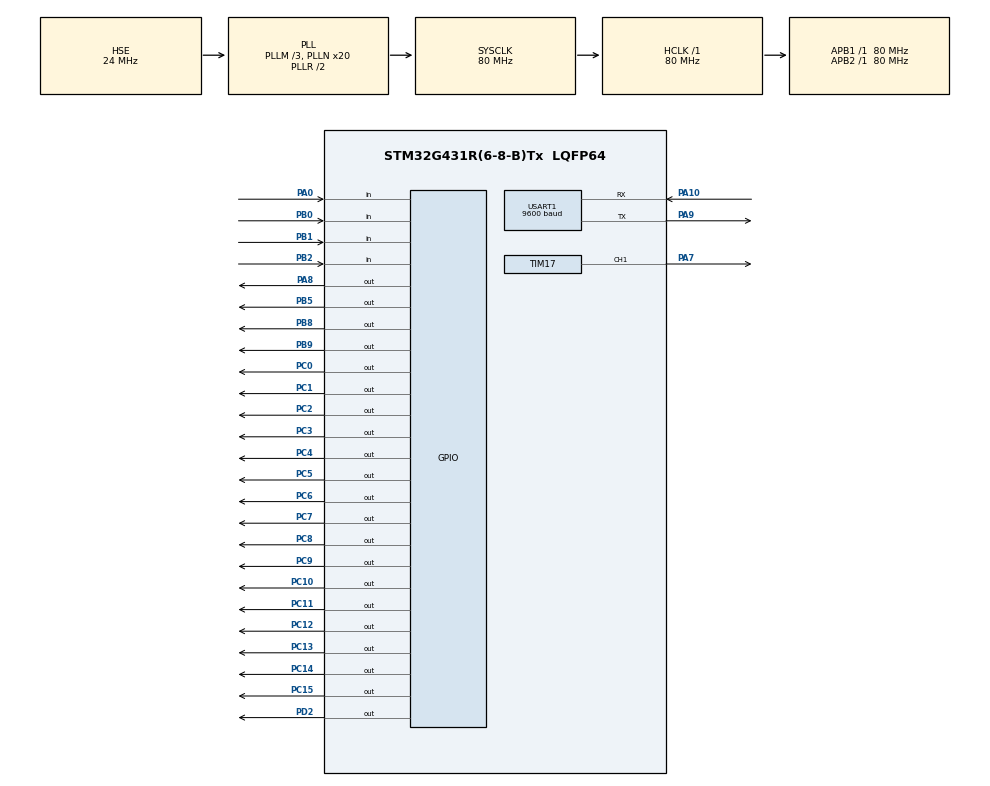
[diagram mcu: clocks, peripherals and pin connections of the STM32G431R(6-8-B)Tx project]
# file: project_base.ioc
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Mcu.Family=STM32G4
Mcu.Name=STM32G431R(6-8-B)Tx
Mcu.Package=LQFP64
NVIC.PriorityGroup=NVIC_PRIORITYGROUP_4
NVIC.USART1_IRQn=true\:0\:0\:false\:false\:true\:true\:true\:true
PA0.GPIO_PuPd=GPIO_PULLUP
PA0.Signal=GPIO_Input
PA10.Mode=Asynchronous
PA10.Signal=USART1_RX
PA13.Mode=Serial_Wire
PA13.Signal=SYS_JTMS-SWDIO
PA14.Mode=Serial_Wire
PA14.Signal=SYS_JTCK-SWCLK
PA7.Signal=S_TIM17_CH1
PA8.Signal=GPIO_Output
PA9.Mode=Asynchronous
PA9.Signal=USART1_TX
PB0.GPIO_PuPd=GPIO_PULLUP
PB0.Signal=GPIO_Input
PB1.GPIO_PuPd=GPIO_PULLUP
PB1.Signal=GPIO_Input
PB2.GPIO_PuPd=GPIO_PULLUP
PB2.Signal=GPIO_Input
PB5.Signal=GPIO_Output
PB8-BOOT0.Signal=GPIO_Output
PB9.Signal=GPIO_Output
PC0.Signal=GPIO_Output
PC1.Signal=GPIO_Output
PC10.Signal=GPIO_Output
PC11.Signal=GPIO_Output
PC12.Signal=GPIO_Output
PC13.Signal=GPIO_Output
PC14-OSC32_IN.Signal=GPIO_Output
PC15-OSC32_OUT.Signal=GPIO_Output
PC2.Signal=GPIO_Output
PC3.Signal=GPIO_Output
PC4.Signal=GPIO_Output
PC5.Signal=GPIO_Output
PC6.Signal=GPIO_Output
PC7.Signal=GPIO_Output
PC8.Signal=GPIO_Output
PC9.Signal=GPIO_Output
PD2.Signal=GPIO_Output
PF0-OSC_IN.Mode=HSE-External-Oscillator
PF0-OSC_IN.Signal=RCC_OSC_IN
PF1-OSC_OUT.Mode=HSE-External-Oscillator
PF1-OSC_OUT.Signal=RCC_OSC_OUT
ProjectManager.HeapSize=0x200
ProjectManager.StackSize=0x400
ProjectManager.TargetToolchain=MDK-ARM V5.32
RCC.ADC12Freq_Value=80000000
RCC.AHBFreq_Value=80000000
RCC.APB1Freq_Value=80000000
RCC.APB1TimFreq_Value=80000000
RCC.APB2Freq_Value=80000000
RCC.APB2TimFreq_Value=80000000
RCC.CortexFreq_Value=80000000
RCC.EXTERNAL_CLOCK_VALUE=12288000
RCC.HCLKFreq_Value=80000000
RCC.HSE_VALUE=24000000
RCC.HSI48_VALUE=48000000
RCC.HSI_VALUE=16000000
RCC.LSE_VALUE=32768
RCC.PLLM=RCC_PLLM_DIV3
RCC.PLLN=20
RCC.PLLSourceVirtual=RCC_PLLSOURCE_HSE
RCC.SYSCLKFreq_VALUE=80000000
RCC.SYSCLKSource=RCC_SYSCLKSOURCE_PLLCLK
RCC.USBFreq_Value=80000000
RCC.VCOOutputFreq_Value=160000000
SH.S_TIM17_CH1.0=TIM17_CH1,PWM Generation1 CH1
TIM17.Channel=TIM_CHANNEL_1
TIM17.PeriodNoDither=100-1
TIM17.Prescaler=400-1
USART1.BaudRate=9600
USART1.VirtualMode-Asynchronous=VM_ASYNC
VP_SYS_VS_DBSignals.Mode=DisableDeadBatterySignals
VP_TIM17_VS_ClockSourceINT.Mode=Enable_Timer
board=custom

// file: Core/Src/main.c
/* USER CODE BEGIN Header */
/**
  ******************************************************************************
  * @file           : main.c
  * @brief          : Main program body
  ******************************************************************************
  * @attention
  *
  * Copyright (c) 2025 STMicroelectronics.
  * All rights reserved.
  *
  * This software is licensed under terms that can be found in the LICENSE file
  * in the root directory of this software component.
  * If no LICENSE file comes with this software, it is provided AS-IS.
  *
  ******************************************************************************
  */
/* USER CODE END Header */
#include "main.h"
#include "tim.h"
#include "usart.h"
#include "gpio.h"

void SystemClock_Config(void);

/* USER CODE BEGIN 0 */
u8 lcd_mod=0;
int cnbr,vnbr,idle=8;
double cnbr_price=3.5,vnbr_price=2;
u8 b1,b11,b2,b22,b3,b33,b4,b44;
u8 pa7_mod=0;
char rx[30];
char rx_len,rx_count,rx_ok;
u8 x=0;
u8 chepai_1[8],chepai_2[8],chepai_3[8],chepai_4[8];
int year_in[8],month_in[8],day_in[8],hour_in[8],min_in[8],second_in[8];
u8 chelei=0;
u8 tx[25];
u8 out=0;
u8 chexin[8];
void lcd(void)
{
	u8 t[25];
	if(lcd_mod==0)
	{
		sprintf((char *)t,"       Data        ");
		LCD_DisplayStringLine(Line1, (unsigned char *)t);
		sprintf((char *)t,"   CNBR:%d         ",cnbr);
		LCD_DisplayStringLine(Line3, (unsigned char *)t);
		sprintf((char *)t,"   VNBR:%d         ",vnbr);
		LCD_DisplayStringLine(Line5, (unsigned char *)t);
		sprintf((char *)t,"   IDLE:%d         ",idle);
		LCD_DisplayStringLine(Line7, (unsigned char *)t);
	}
	if(lcd_mod==1)
	{
		sprintf((char *)t,"       Para        ");
		LCD_DisplayStringLine(Line1, (unsigned char *)t);
		sprintf((char *)t,"   CNBR:%.2f         ",cnbr_price);
		LCD_DisplayStringLine(Line3, (unsigned char *)t);
		sprintf((char *)t,"   VNBR:%.2f         ",vnbr_price);
		LCD_DisplayStringLine(Line5, (unsigned char *)t);
	}
}
void key(void)
{
	if(HAL_GPIO_ReadPin(GPIOB,GPIO_PIN_0)==0) b1=1;
	else b1=0;
	if(b1==1&&b11==0)
	{
		b11=1;
		lcd_mod^=1;
		LCD_Clear(Black);
	}if(b11==1&&b1==0) b11=0;

	if(lcd_mod==1)
	{
		if(HAL_GPIO_ReadPin(GPIOB,GPIO_PIN_1)==0) b2=1;
		else b2=0;
		if(b2==1&&b22==0)
		{
			b22=1;
			cnbr_price+=0.5;
			vnbr_price+=0.5;
		}if(b22==1&&b2==0) b22=0;

		if(HAL_GPIO_ReadPin(GPIOB,GPIO_PIN_2)==0) b3=1;
		else b3=0;
		if(b3==1&&b33==0)
		{
			b33=1;
			cnbr_price-=0.5;
			vnbr_price-=0.5;
			if(cnbr_price<=0) cnbr_price=0;
			if(vnbr_price<=0) vnbr_price=0;
		}if(b33==1&&b3==0) b33=0;
	}

	if(HAL_GPIO_ReadPin(GPIOA,GPIO_PIN_0)==0) b4=1;
	else b4=0;
	if(b4==1&&b44==0)
	{
		b44=1;
		pa7_mod^=1;
	}if(b44==1&&b4==0) b44=0;
}
void uart(void)
{
	int i,index;
	char che_1,che_2,che_3,che_4;
	char year,month,day,hour,min,second;
	if(rx_ok)
	{
		rx_ok=0;
		if(rx_count==22)
		{
			if(rx[4]==':'&&rx[9]==':')
			{
				chelei=0;
				if(strncmp((char *)rx,"CNBR",4)==0) chelei=1;
				if(strncmp((char *)rx,"VNBR",4)==0) chelei=2;
				che_1=rx[5];che_2=rx[6];che_3=rx[7];che_4=rx[8];
				year=rx[10]*10+rx[11];month=rx[23]*10+rx[13];
				day=rx[14]*10+rx[15];hour=rx[16]*10+rx[17];
				min=rx[18]*10+rx[19];second=rx[20]*10+rx[21];
				out=0;
				for(i=0;i<8;i++)
				{
					if(che_1==chepai_1[i])
						if(che_2==chepai_2[i])
							if(che_3==chepai_3[i])
								if(che_4==chepai_4[i])
									if(chelei==chexin[i])
									{
										out=1;
										index=i;
									}
				}
				if(out==0&&chelei!=0)
				{
					chepai_1[8-idle]=rx[5];chepai_2[8-idle]=rx[6];
					chepai_3[8-idle]=rx[7];chepai_4[8-idle]=rx[8];
					year_in[8-idle]=year;
					month_in[8-idle]=month;
					day_in[8-idle]=day;
					hour_in[8-idle]=hour;
					min_in[8-idle]=min;
					second_in[8-idle]=second;
					chexin[8-idle]=chelei;
					idle--;
					if(chelei==1)	cnbr++;
					if(chelei==2)	vnbr++;
				}
				if(out==1&&chelei!=0)
				{
					int time;
					double price;
					time=hour-hour_in[index];
					if(min-min_in[index]!=0||second-second_in[index]!=0)
						time=time+1;
					if(chelei==1) price=cnbr_price*time;
					if(chelei==2) price=vnbr_price*time;
					sprintf((char *)tx,"%c%c%c%c%c%c%c%c%c%c%d:%.2f",rx[0],rx[1],rx[2],rx[3],rx[4],rx[5],rx[6],rx[7],rx[8],rx[9],time,price);
					HAL_UART_Transmit(&huart1,tx,strlen((char *)tx),HAL_MAX_DELAY);
					idle++;
					if(chelei==1)	cnbr--;
					if(chelei==2)	vnbr--;
				}
				if(chelei==0) HAL_UART_Transmit(&huart1,(uint8_t *)"Error",5,HAL_MAX_DELAY);
			}
			else HAL_UART_Transmit(&huart1,(uint8_t *)"Error",5,HAL_MAX_DELAY);
		}
		else HAL_UART_Transmit(&huart1,(uint8_t *)"Error",5,HAL_MAX_DELAY);
		memset(rx,'\0',sizeof(rx));
	}
}
/* USER CODE END 0 */

int main(void)
{

  /* MCU Configuration--------------------------------------------------------*/

  /* Reset of all peripherals, Initializes the Flash interface and the Systick. */
  HAL_Init();

  /* Configure the system clock */
  SystemClock_Config();

  /* Initialize all configured peripherals */
  MX_GPIO_Init();
  MX_TIM17_Init();
  MX_USART1_UART_Init();

  /* Infinite loop */
  /* USER CODE BEGIN WHILE */
	LCD_Init();
	LCD_SetBackColor(Black);
	LCD_SetTextColor(White);
	LCD_Clear(Black);
	HAL_TIM_PWM_Start(&htim17,TIM_CHANNEL_1);
	__HAL_UART_ENABLE_IT(&huart1,UART_IT_RXNE);
	__HAL_UART_ENABLE_IT(&huart1,UART_IT_IDLE);
  while (1)
  {
	  if(pa7_mod==1) __HAL_TIM_SetCompare(&htim17,TIM_CHANNEL_1,20);
	  if(pa7_mod==0) __HAL_TIM_SetCompare(&htim17,TIM_CHANNEL_1,0);
	  lcd();key();uart();
    /* USER CODE END WHILE */

    /* USER CODE BEGIN 3 */
	  HAL_GPIO_WritePin(GPIOC,(uint16_t)0xff00,1);
	  if(idle>0) HAL_GPIO_WritePin(GPIOC,GPIO_PIN_8,0);
	  if(pa7_mod) HAL_GPIO_WritePin(GPIOC,GPIO_PIN_9,0);
	  HAL_GPIO_WritePin(GPIOD,GPIO_PIN_2,1);
	  HAL_GPIO_WritePin(GPIOD,GPIO_PIN_2,0);
  }
  /* USER CODE END 3 */
}

void SystemClock_Config(void)
{
  RCC_OscInitTypeDef RCC_OscInitStruct = {0};
  RCC_ClkInitTypeDef RCC_ClkInitStruct = {0};

  /** Configure the main internal regulator output voltage
  */
  HAL_PWREx_ControlVoltageScaling(PWR_REGULATOR_VOLTAGE_SCALE1);

  /** Initializes the RCC Oscillators according to the specified parameters
  * in the RCC_OscInitTypeDef structure.
  */
  RCC_OscInitStruct.OscillatorType = RCC_OSCILLATORTYPE_HSE;
  RCC_OscInitStruct.HSEState = RCC_HSE_ON;
  RCC_OscInitStruct.PLL.PLLState = RCC_PLL_ON;
  RCC_OscInitStruct.PLL.PLLSource = RCC_PLLSOURCE_HSE;
  RCC_OscInitStruct.PLL.PLLM = RCC_PLLM_DIV3;
  RCC_OscInitStruct.PLL.PLLN = 20;
  RCC_OscInitStruct.PLL.PLLP = RCC_PLLP_DIV2;
  RCC_OscInitStruct.PLL.PLLQ = RCC_PLLQ_DIV2;
  RCC_OscInitStruct.PLL.PLLR = RCC_PLLR_DIV2;
  if (HAL_RCC_OscConfig(&RCC_OscInitStruct) != HAL_OK)
  {
    Error_Handler();
  }

  /** Initializes the CPU, AHB and APB buses clocks
  */
  RCC_ClkInitStruct.ClockType = RCC_CLOCKTYPE_HCLK|RCC_CLOCKTYPE_SYSCLK
                              |RCC_CLOCKTYPE_PCLK1|RCC_CLOCKTYPE_PCLK2;
  RCC_ClkInitStruct.SYSCLKSource = RCC_SYSCLKSOURCE_PLLCLK;
  RCC_ClkInitStruct.AHBCLKDivider = RCC_SYSCLK_DIV1;
  RCC_ClkInitStruct.APB1CLKDivider = RCC_HCLK_DIV1;
  RCC_ClkInitStruct.APB2CLKDivider = RCC_HCLK_DIV1;

  if (HAL_RCC_ClockConfig(&RCC_ClkInitStruct, FLASH_LATENCY_2) != HAL_OK)
  {
    Error_Handler();
  }
}

void Error_Handler(void)
{
  __disable_irq();
  while (1)
  {
  }
}
